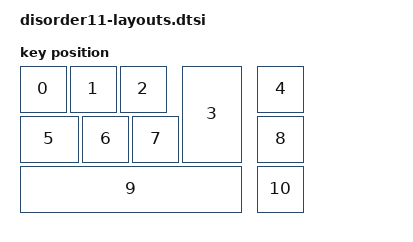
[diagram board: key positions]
#include <physical_layouts.dtsi>

/ {
  chosen {
    zmk,physical-layout = &default_layout;
  };

  default_layout: layout {
    compatible = "zmk,physical-layout";
    display-name = "Disorder11";
    transform = <&default_transform>;
         keys  //                     w   h    x    y     rot    rx    ry
            = <&key_physical_attrs 100 100    0    0       0     0     0>
            , <&key_physical_attrs 100 100  100    0       0     0     0>
            , <&key_physical_attrs 100 100  200    0       0     0     0>
            , <&key_physical_attrs 125 200  325    0       0     0     0>
            , <&key_physical_attrs 100 100  475    0       0     0     0>
            , <&key_physical_attrs 125 100    0  100       0     0     0>
            , <&key_physical_attrs 100 100  125  100       0     0     0>
            , <&key_physical_attrs 100 100  225  100       0     0     0>
            , <&key_physical_attrs 100 100  475  100       0     0     0>
            , <&key_physical_attrs 450 100    0  200       0     0     0>
            , <&key_physical_attrs 100 100  475  200       0     0     0>
            ;
    };
};
